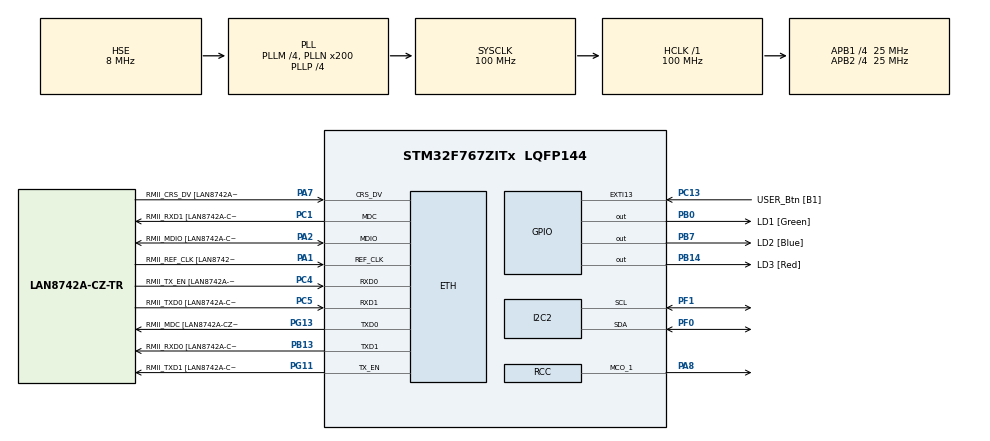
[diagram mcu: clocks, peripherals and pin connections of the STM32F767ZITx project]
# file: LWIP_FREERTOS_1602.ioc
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CORTEX_M7.default_mode_Activation=1
ETH.MediaInterface=HAL_ETH_RMII_MODE
FREERTOS.Tasks01=defaultTask,0,1024,StartDefaultTask,Default,NULL,Dynamic,NULL,NULL;displayTask,0,512,DisplayTask,Default,NULL,Dynamic,NULL,NULL
FREERTOS.configUSE_NEWLIB_REENTRANT=1
I2C2.Timing=0x00606092
LWIP.BSP.number=1
LWIP.IP_ADDRESS=192.168.004.250
LWIP.LWIP_DHCP=1
LWIP.MEM_SIZE=8192
LWIP.NETMASK_ADDRESS=255.255.255.000
LWIP.Version=v2.1.2_Cube
LWIP0.BSP.STBoard=false
LWIP0.BSP.api=BSP_COMPONENT_DRIVER
LWIP0.BSP.component=LAN8742
LWIP0.BSP.instance=LAN8742
LWIP0.BSP.name=Driver_PHY
LWIP0.BSP.semaphore=S_LAN8742
LWIP0.BSP.solution=LAN8742
Mcu.Family=STM32F7
Mcu.Name=STM32F767ZITx
Mcu.Package=LQFP144
NVIC.ETH_IRQn=true\:5\:0\:false\:false\:true\:true\:false\:true\:true
NVIC.PriorityGroup=NVIC_PRIORITYGROUP_4
NVIC.TIM6_DAC_IRQn=true\:15\:0\:false\:false\:true\:false\:false\:true\:true
NVIC.TimeBase=TIM6_DAC_IRQn
NVIC.TimeBaseIP=TIM6
PA1.GPIO_Label=RMII_REF_CLK [LAN8742A-CZ-TR_REFCLK0]
PA1.Mode=RMII
PA1.Signal=ETH_REF_CLK
PA13.Mode=Serial_Wire
PA13.Signal=SYS_JTMS-SWDIO
PA14.Mode=Serial_Wire
PA14.Signal=SYS_JTCK-SWCLK
PA2.GPIO_Label=RMII_MDIO [LAN8742A-CZ-TR_MDIO]
PA2.Mode=RMII
PA2.Signal=ETH_MDIO
PA7.GPIO_Label=RMII_CRS_DV [LAN8742A-CZ-TR_CRS_DV]
PA7.Mode=RMII
PA7.Signal=ETH_CRS_DV
PA8.Mode=Clock-out-1
PA8.Signal=RCC_MCO_1
PB0.GPIO_Label=LD1 [Green]
PB0.Signal=GPIO_Output
PB13.GPIO_Label=RMII_RXD0 [LAN8742A-CZ-TR_RXD0]
PB13.Mode=RMII
PB13.Signal=ETH_TXD1
PB14.GPIO_Label=LD3 [Red]
PB14.Signal=GPIO_Output
PB7.GPIO_Label=LD2 [Blue]
PB7.Signal=GPIO_Output
PC1.GPIO_Label=RMII_RXD1 [LAN8742A-CZ-TR_RXD1]
PC1.Mode=RMII
PC1.Signal=ETH_MDC
PC13.GPIO_Label=USER_Btn [B1]
PC13.GPIO_ModeDefaultEXTI=GPIO_MODE_EVT_RISING
PC13.Signal=GPXTI13
PC14/OSC32_IN.Mode=LSE-External-Oscillator
PC14/OSC32_IN.Signal=RCC_OSC32_IN
PC15/OSC32_OUT.Mode=LSE-External-Oscillator
PC15/OSC32_OUT.Signal=RCC_OSC32_OUT
PC4.GPIO_Label=RMII_TX_EN [LAN8742A-CZ-TR_TXEN]
PC4.Mode=RMII
PC4.Signal=ETH_RXD0
PC5.GPIO_Label=RMII_TXD0 [LAN8742A-CZ-TR_TXD0]
PC5.Mode=RMII
PC5.Signal=ETH_RXD1
PF0.Mode=I2C
PF0.Signal=I2C2_SDA
PF1.Mode=I2C
PF1.Signal=I2C2_SCL
PG11.GPIO_Label=RMII_TXD1 [LAN8742A-CZ-TR_TXD1]
PG11.Mode=RMII
PG11.Signal=ETH_TX_EN
PG13.GPIO_Label=RMII_MDC [LAN8742A-CZ-TR_MDC]
PG13.Mode=RMII
PG13.Signal=ETH_TXD0
PH0/OSC_IN.Mode=HSE-External-Oscillator
PH0/OSC_IN.Signal=RCC_OSC_IN
PH1/OSC_OUT.Mode=HSE-External-Oscillator
PH1/OSC_OUT.Signal=RCC_OSC_OUT
ProjectManager.HeapSize=0x200
ProjectManager.StackSize=0x400
ProjectManager.TargetToolchain=STM32CubeIDE
RCC.AHBFreq_Value=100000000
RCC.APB1CLKDivider=RCC_HCLK_DIV4
RCC.APB1Freq_Value=25000000
RCC.APB1TimFreq_Value=50000000
RCC.APB2CLKDivider=RCC_HCLK_DIV4
RCC.APB2Freq_Value=25000000
RCC.APB2TimFreq_Value=50000000
RCC.CortexFreq_Value=100000000
RCC.HCLKFreq_Value=100000000
RCC.HSE_VALUE=8000000
RCC.HSI_VALUE=16000000
RCC.PLLM=4
RCC.PLLN=200
RCC.PLLP=RCC_PLLP_DIV4
RCC.PLLSourceVirtual=RCC_PLLSOURCE_HSE
RCC.RCC_MCO1Source=RCC_MCO1SOURCE_PLLCLK
RCC.RCC_MCODiv1=RCC_MCODIV_2
RCC.SYSCLKFreq_VALUE=100000000
RCC.SYSCLKSource=RCC_SYSCLKSOURCE_PLLCLK
RCC.USBFreq_Value=200000000
RCC.VCOOutputFreq_Value=400000000
TIM1.Prescaler=1080
VP_FREERTOS_VS_CMSIS_V1.Mode=CMSIS_V1
VP_LWIP_VS_Enabled.Mode=Enabled
VP_SYS_VS_tim6.Mode=TIM6
VP_TIM1_VS_ClockSourceINT.Mode=Internal
board=custom

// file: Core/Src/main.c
/* USER CODE BEGIN Header */
/**
  ******************************************************************************
  * @file           : main.c
  * @brief          : Main program body
  ******************************************************************************
  * @attention
  *
  * Copyright (c) 2025 STMicroelectronics.
  * All rights reserved.
  *
  * This software is licensed under terms that can be found in the LICENSE file
  * in the root directory of this software component.
  * If no LICENSE file comes with this software, it is provided AS-IS.
  *
  ******************************************************************************
  */
/* USER CODE END Header */
#include "main.h"
#include "cmsis_os.h"
#include "i2c.h"
#include "lwip.h"
#include "tim.h"
#include "gpio.h"

void SystemClock_Config(void);
static void MPU_Config(void);
void MX_FREERTOS_Init(void);

int main(void)
{

  /* MPU Configuration--------------------------------------------------------*/
  MPU_Config();

  /* MCU Configuration--------------------------------------------------------*/

  /* Reset of all peripherals, Initializes the Flash interface and the Systick. */
  HAL_Init();

  /* Configure the system clock */
  SystemClock_Config();

  /* Initialize all configured peripherals */
  MX_GPIO_Init();
  MX_TIM1_Init();
  MX_I2C2_Init();

  /* Call init function for freertos objects (in cmsis_os2.c) */
  MX_FREERTOS_Init();

  /* Start scheduler */
  osKernelStart();

  /* We should never get here as control is now taken by the scheduler */

  /* Infinite loop */
  while (1)
  {

  }
}

void SystemClock_Config(void)
{
  RCC_OscInitTypeDef RCC_OscInitStruct = {0};
  RCC_ClkInitTypeDef RCC_ClkInitStruct = {0};

  /** Configure LSE Drive Capability
  */
  HAL_PWR_EnableBkUpAccess();

  /** Configure the main internal regulator output voltage
  */
  __HAL_RCC_PWR_CLK_ENABLE();
  __HAL_PWR_VOLTAGESCALING_CONFIG(PWR_REGULATOR_VOLTAGE_SCALE3);

  /** Initializes the RCC Oscillators according to the specified parameters
  * in the RCC_OscInitTypeDef structure.
  */
  RCC_OscInitStruct.OscillatorType = RCC_OSCILLATORTYPE_HSE;
  RCC_OscInitStruct.HSEState = RCC_HSE_ON;
  RCC_OscInitStruct.PLL.PLLState = RCC_PLL_ON;
  RCC_OscInitStruct.PLL.PLLSource = RCC_PLLSOURCE_HSE;
  RCC_OscInitStruct.PLL.PLLM = 4;
  RCC_OscInitStruct.PLL.PLLN = 200;
  RCC_OscInitStruct.PLL.PLLP = RCC_PLLP_DIV4;
  RCC_OscInitStruct.PLL.PLLQ = 2;
  RCC_OscInitStruct.PLL.PLLR = 2;
  if (HAL_RCC_OscConfig(&RCC_OscInitStruct) != HAL_OK)
  {
    Error_Handler();
  }

  /** Initializes the CPU, AHB and APB buses clocks
  */
  RCC_ClkInitStruct.ClockType = RCC_CLOCKTYPE_HCLK|RCC_CLOCKTYPE_SYSCLK
                              |RCC_CLOCKTYPE_PCLK1|RCC_CLOCKTYPE_PCLK2;
  RCC_ClkInitStruct.SYSCLKSource = RCC_SYSCLKSOURCE_PLLCLK;
  RCC_ClkInitStruct.AHBCLKDivider = RCC_SYSCLK_DIV1;
  RCC_ClkInitStruct.APB1CLKDivider = RCC_HCLK_DIV4;
  RCC_ClkInitStruct.APB2CLKDivider = RCC_HCLK_DIV4;

  if (HAL_RCC_ClockConfig(&RCC_ClkInitStruct, FLASH_LATENCY_3) != HAL_OK)
  {
    Error_Handler();
  }
  HAL_RCC_MCOConfig(RCC_MCO1, RCC_MCO1SOURCE_PLLCLK, RCC_MCODIV_2);
}

 /* MPU Configuration */

void MPU_Config(void)
{
  MPU_Region_InitTypeDef MPU_InitStruct = {0};

  /* Disables the MPU */
  HAL_MPU_Disable();

  /** Initializes and configures the Region and the memory to be protected
  */
  MPU_InitStruct.Enable = MPU_REGION_ENABLE;
  MPU_InitStruct.Number = MPU_REGION_NUMBER0;
  MPU_InitStruct.BaseAddress = 0x0;
  MPU_InitStruct.Size = MPU_REGION_SIZE_4GB;
  MPU_InitStruct.SubRegionDisable = 0x87;
  MPU_InitStruct.TypeExtField = MPU_TEX_LEVEL0;
  MPU_InitStruct.AccessPermission = MPU_REGION_NO_ACCESS;
  MPU_InitStruct.DisableExec = MPU_INSTRUCTION_ACCESS_DISABLE;
  MPU_InitStruct.IsShareable = MPU_ACCESS_SHAREABLE;
  MPU_InitStruct.IsCacheable = MPU_ACCESS_NOT_CACHEABLE;
  MPU_InitStruct.IsBufferable = MPU_ACCESS_NOT_BUFFERABLE;

  HAL_MPU_ConfigRegion(&MPU_InitStruct);
  /* Enables the MPU */
  HAL_MPU_Enable(MPU_PRIVILEGED_DEFAULT);

}

void HAL_TIM_PeriodElapsedCallback(TIM_HandleTypeDef *htim)
{
  if (htim->Instance == TIM6)
  {
    HAL_IncTick();
  }
}

void Error_Handler(void)
{
  __disable_irq();
  while (1)
  {
  }
}

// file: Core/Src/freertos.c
/* USER CODE BEGIN Header */
/**
  ******************************************************************************
  * File Name          : freertos.c
  * Description        : Code for freertos applications
  ******************************************************************************
  * @attention
  *
  * Copyright (c) 2025 STMicroelectronics.
  * All rights reserved.
  *
  * This software is licensed under terms that can be found in the LICENSE file
  * in the root directory of this software component.
  * If no LICENSE file comes with this software, it is provided AS-IS.
  *
  ******************************************************************************
  */
/* USER CODE END Header */

#include "FreeRTOS.h"
#include "task.h"
#include "main.h"
#include "cmsis_os.h"

/* USER CODE BEGIN Includes */
#include "lcd1602_i2c.h"
#include "lcd1602_text.h"
#include "lwip/netif.h"
#include "lwip/ip4_addr.h"
#include "lwip/dhcp.h"
#include <string.h>

extern I2C_HandleTypeDef hi2c2;
extern struct netif gnetif;
/* USER CODE END Includes */

osThreadId defaultTaskHandle;
osThreadId displayTaskHandle;

void StartDefaultTask(void const * argument);
void DisplayTask(void const * argument);

extern void MX_LWIP_Init(void);
void MX_FREERTOS_Init(void); /* (MISRA C 2004 rule 8.1) */

/* GetIdleTaskMemory prototype (linked to static allocation support) */
void vApplicationGetIdleTaskMemory( StaticTask_t **ppxIdleTaskTCBBuffer, StackType_t **ppxIdleTaskStackBuffer, uint32_t *pulIdleTaskStackSize );

/* USER CODE BEGIN GET_IDLE_TASK_MEMORY */
static StaticTask_t xIdleTaskTCBBuffer;
static StackType_t xIdleStack[configMINIMAL_STACK_SIZE];

void vApplicationGetIdleTaskMemory( StaticTask_t **ppxIdleTaskTCBBuffer, StackType_t **ppxIdleTaskStackBuffer, uint32_t *pulIdleTaskStackSize )
{
  *ppxIdleTaskTCBBuffer = &xIdleTaskTCBBuffer;
  *ppxIdleTaskStackBuffer = &xIdleStack[0];
  *pulIdleTaskStackSize = configMINIMAL_STACK_SIZE;
  /* place for user code */
}
/* USER CODE END GET_IDLE_TASK_MEMORY */

void MX_FREERTOS_Init(void) {

  /* Create the thread(s) */
  /* definition and creation of defaultTask */
  osThreadDef(defaultTask, StartDefaultTask, osPriorityNormal, 0, 1024);
  defaultTaskHandle = osThreadCreate(osThread(defaultTask), NULL);

  /* definition and creation of displayTask */
  osThreadDef(displayTask, DisplayTask, osPriorityNormal, 0, 512);
  displayTaskHandle = osThreadCreate(osThread(displayTask), NULL);

}

void StartDefaultTask(void const * argument)
{
  /* init code for LWIP */
  MX_LWIP_Init();
  /* USER CODE BEGIN StartDefaultTask */
  /* Infinite loop */
  for(;;)
  {
    sys_check_timeouts();  // This is critical for DHCP, TCP, and timers to work
    osDelay(1);
  }
  /* USER CODE END StartDefaultTask */
}

void DisplayTask(void const * argument)
{
  /* USER CODE BEGIN DisplayTask */
  char ip_str[16]; // Buffer to store the IP address as a string
  char prev_ip_str[16] = ""; // Previous IP address
  char prev_hostname[32] = ""; // Previous hostname
	uint8_t prev_dhcp_state = 0xFF;
  LCD1602_I2C_HandleTypeDef lcd; // LCD handle (initialize it properly before use)

  // Initialize the LCD
  lcd.hi2c = &hi2c2; // Replace with your I2C handle
  lcd.address = 0x7E; // Replace with your LCD I2C address
  lcd_init(&lcd);
  lcd_clear(&lcd); // Clear the LCD after initialization

  /* Infinite loop */
  for(;;)
  {
    // Get the IP address
    ip4_addr_t ip = gnetif.ip_addr;

    // Format the IP address as a string
    snprintf(ip_str, sizeof(ip_str), "%s", ip4addr_ntoa(&ip));

    // Get the hostname
    const char *hostname = netif_get_hostname(&gnetif);

    // Get DHCP state
    const struct dhcp *dhcp = netif_dhcp_data(&gnetif);
    uint8_t dhcp_state = dhcp ? dhcp->state : 255;

    // Check if the IP address or DHCP state or hostname has changed
    if (strcmp(ip_str, prev_ip_str) != 0 || dhcp_state != prev_dhcp_state || strcmp(hostname, prev_hostname) != 0)
    {
      // Update the previous values
      strncpy(prev_ip_str, ip_str, sizeof(prev_ip_str));
      prev_ip_str[sizeof(prev_ip_str) - 1] = '\0';

      strncpy(prev_hostname, hostname, sizeof(prev_hostname));
      prev_hostname[sizeof(prev_hostname) - 1] = '\0';

      prev_dhcp_state = dhcp_state;

      // Clear the LCD and print the DHCP state and IP address
      lcd_clear(&lcd);

      //lcd_gotoxy(&lcd, 0, 0); // Move to the first row
      //lcd_puts(&lcd, hostname); // Print hostname

      char tmp[16];
      snprintf(tmp, sizeof(tmp), "DHCP STATE: %u", dhcp_state);
      //lcd_puts(&lcd, tmp); // Print DHCP state number
      lcd_scroll_text(&lcd, tmp, 0, 300);
      lcd_scroll_text(&lcd, ip_str, 1, 300);

      //lcd_gotoxy(&lcd, 0, 1); // Move to the second row
      //lcd_puts(&lcd, ip_str); // Print IP address
    }

    osDelay(1000); // Check for updates every second
  }
  /* USER CODE END DisplayTask */
}
